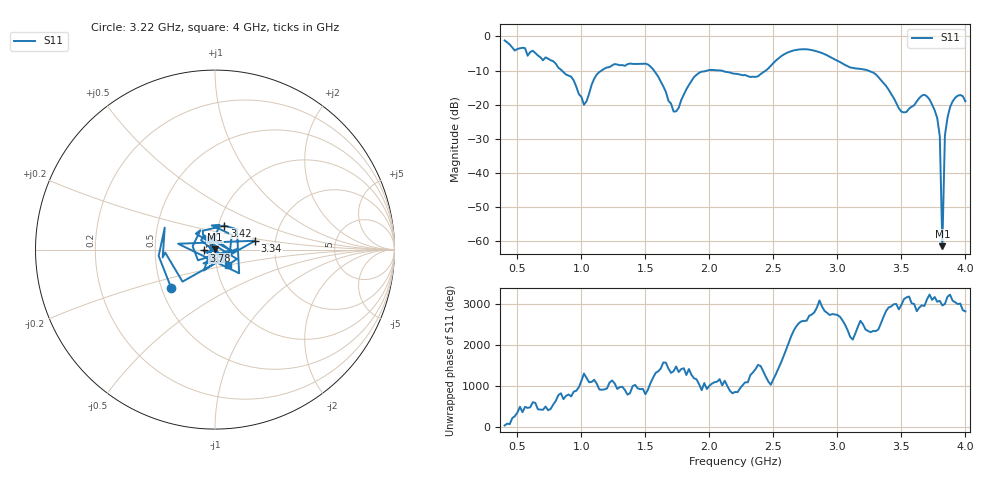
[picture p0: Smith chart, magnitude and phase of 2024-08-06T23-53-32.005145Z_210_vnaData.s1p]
!Created with skrf (http://scikit-rf.org).
# Hz S RI R 50.0
!freq ReS11 ImS11
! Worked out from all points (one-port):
!   181 points, 400 MHz to 4 GHz, reference 50 ohm
!   lowest |S11| = -61.4 dB at 3.82 GHz (marker M1), VSWR 1.00, Z = 50 + j0.0851 ohm
!   |S11| at or under -10 dB: 1.567 GHz to 1.986 GHz (418.7 MHz wide, 23.6 % of centre); 2.088 GHz to 2.441 GHz (352.6 MHz wide, 15.6 % of centre); 3.239 GHz to end of sweep (the widest 3 of 4)
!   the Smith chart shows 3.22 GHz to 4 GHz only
!   S11 on the Smith chart (normalised r, x): 3.22 GHz: 0.56, -0.27; 3.34 GHz: 1.57, +0.16; 3.42 GHz: 1.07, +0.29; 3.78 GHz: 0.88, -0.01; 4 GHz: 1.13, -0.20
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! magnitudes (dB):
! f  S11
! 400 MHz  -1.2
! 860 MHz  -10.5
! 940 MHz  -12.9
! 1.02 GHz  -20.0
! 1.12 GHz  -11.2
! 1.3 GHz  -8.5
! 1.52 GHz  -8.2
! 1.6 GHz  -11.8
! 1.72 GHz  -22.0
! 1.76 GHz  -20.9
! 1.92 GHz  -10.6
! 2.2 GHz  -10.9
! 2.38 GHz  -11.7
! 2.66 GHz  -4.1
! 3.1 GHz  -9.1
! 3.22 GHz  -9.8
! 3.34 GHz  -12.8
! 3.42 GHz  -16.9
! 3.5 GHz  -22.0
! 3.56 GHz  -21.2
! 3.68 GHz  -17.1
! 3.78 GHz  -23.9
! 3.8 GHz  -29.2
! 3.82 GHz  -61.4
! 3.84 GHz  -29.0
! 3.86 GHz  -23.8
! 3.92 GHz  -18.0
! 4 GHz  -19.0
